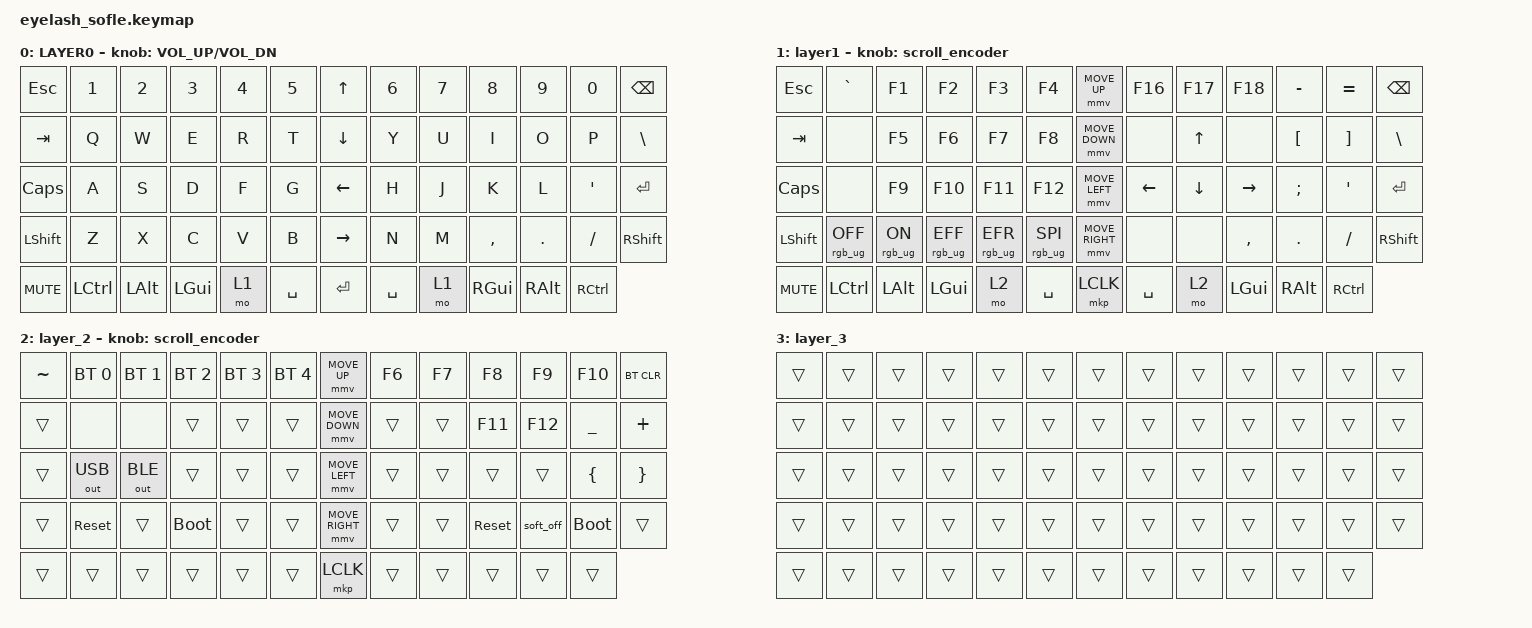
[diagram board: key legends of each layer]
#define ZMK_POINTING_DEFAULT_MOVE_VAL 1200  // 600
#define ZMK_POINTING_DEFAULT_SCRL_VAL 25   // 10

#include <input/processors.dtsi>
#include <zephyr/dt-bindings/input/input-event-codes.h>
#include <behaviors.dtsi>
#include <dt-bindings/zmk/bt.h>
#include <dt-bindings/zmk/keys.h>
#include <dt-bindings/zmk/outputs.h>
#include <dt-bindings/zmk/pointing.h>
#include <dt-bindings/zmk/rgb.h>

&mmv_input_listener { input-processors = <&zip_xy_scaler 2 1>; };

&msc_input_listener { input-processors = <&zip_scroll_scaler 2 1>; };

&msc {
    acceleration-exponent = <1>;      // 0
    time-to-max-speed-ms = <100>;       // 300
    delay-ms = <0>;                   // 0
};

&mmv {
    time-to-max-speed-ms = <500>;
    acceleration-exponent = <1>;
    trigger-period-ms = <16>;
};

/ {
    scroll_encoder: scroll_encoder {
        compatible = "zmk,behavior-sensor-rotate";
        #sensor-binding-cells = <0>;
        bindings = <&msc SCRL_DOWN>, <&msc SCRL_UP>;

        tap-ms = <100>;
    };

    td0: td0 {
        compatible = "zmk,behavior-tap-dance";
        label = "TD0";
        #binding-cells = <0>;
        bindings = <&kp CAPSLOCK>, <&kp LEFT_SHIFT>;
    };

    ht0: ht0 {
        compatible = "zmk,behavior-hold-tap";
        label = "HT0";
        bindings = <&kp>, <&kp>;

        #binding-cells = <2>;
        tapping-term-ms = <250>;
    };

    behaviors {
    };

    keymap {
        compatible = "zmk,keymap";

        layer0 {
            bindings = <
&kp ESC         &kp N1     &kp N2        &kp N3        &kp N4  &kp N5       &kp UP_ARROW     &kp N6     &kp N7  &kp N8         &kp N9         &kp N0            &kp BACKSPACE
&kp TAB         &kp Q      &kp W         &kp E         &kp R   &kp T        &kp DOWN_ARROW   &kp Y      &kp U   &kp I          &kp O          &kp P             &kp BACKSLASH
&kp CAPSLOCK    &kp A      &kp S         &kp D         &kp F   &kp G        &kp LEFT_ARROW   &kp H      &kp J   &kp K          &kp L          &kp SINGLE_QUOTE  &kp ENTER
&kp LEFT_SHIFT  &kp Z      &kp X         &kp C         &kp V   &kp B        &kp RIGHT_ARROW  &kp N      &kp M   &kp COMMA      &kp PERIOD     &kp SLASH         &kp RIGHT_SHIFT
&kp C_MUTE      &kp LCTRL  &kp LEFT_ALT  &kp LEFT_GUI  &mo 1   &kp SPACE    &kp ENTER        &kp SPACE  &mo 1   &kp RIGHT_GUI  &kp RIGHT_ALT  &kp RCTRL
            >;

            sensor-bindings = <&inc_dec_kp C_VOLUME_UP C_VOL_DN>;
            display-name = "LAYER0";
        };

        layer_1 {
            bindings = <
&kp ESC         &kp GRAVE        &kp F1          &kp F2           &kp F3           &kp F4             &mmv MOVE_UP     &kp F16         &kp F17         &kp F18          &kp MINUS         &kp EQUAL          &kp BACKSPACE
&kp TAB         &none            &kp F5          &kp F6           &kp F7           &kp F8             &mmv MOVE_DOWN   &none           &kp UP_ARROW    &none            &kp LEFT_BRACKET  &kp RIGHT_BRACKET  &kp BACKSLASH
&kp CAPSLOCK    &none            &kp F9          &kp F10          &kp F11          &kp F12            &mmv MOVE_LEFT   &kp LEFT_ARROW  &kp DOWN_ARROW  &kp RIGHT_ARROW  &kp SEMICOLON     &kp SINGLE_QUOTE   &kp ENTER
&kp LEFT_SHIFT  &rgb_ug RGB_OFF  &rgb_ug RGB_ON  &rgb_ug RGB_EFF  &rgb_ug RGB_EFR  &rgb_ug RGB_SPI    &mmv MOVE_RIGHT  &none           &none           &kp COMMA        &kp PERIOD        &kp SLASH          &kp RIGHT_SHIFT
&kp C_MUTE      &kp LCTRL        &kp LEFT_ALT    &kp LEFT_GUI     &mo 2            &kp SPACE          &mkp LCLK        &kp SPACE       &mo 2           &kp LEFT_GUI     &kp RIGHT_ALT     &kp RCTRL
            >;

            display-name = "layer1";
            sensor-bindings = <&scroll_encoder>;
        };

        layer_2 {
            bindings = <
&kp TILDE  &bt BT_SEL 0  &bt BT_SEL 1  &bt BT_SEL 2  &bt BT_SEL 3  &bt BT_SEL 4    &mmv MOVE_UP     &kp F6  &kp F7  &kp F8      &kp F9     &kp F10      &bt BT_CLR
&trans     &none         &none         &trans        &trans        &trans          &mmv MOVE_DOWN   &trans  &trans  &kp F11     &kp F12    &kp UNDER    &kp PLUS
&trans     &out OUT_USB  &out OUT_BLE  &trans        &trans        &trans          &mmv MOVE_LEFT   &trans  &trans  &trans      &trans     &kp LBRC     &kp RBRC
&trans     &sys_reset    &trans        &bootloader   &trans        &trans          &mmv MOVE_RIGHT  &trans  &trans  &sys_reset  &soft_off  &bootloader  &trans
&trans     &trans        &trans        &trans        &trans        &trans          &mkp LCLK        &trans  &trans  &trans      &trans     &trans
            >;

            sensor-bindings = <&scroll_encoder>;
        };

        layer_3 {
            bindings = <
&trans  &trans  &trans  &trans  &trans  &trans    &trans  &trans  &trans  &trans  &trans  &trans  &trans
&trans  &trans  &trans  &trans  &trans  &trans    &trans  &trans  &trans  &trans  &trans  &trans  &trans
&trans  &trans  &trans  &trans  &trans  &trans    &trans  &trans  &trans  &trans  &trans  &trans  &trans
&trans  &trans  &trans  &trans  &trans  &trans    &trans  &trans  &trans  &trans  &trans  &trans  &trans
&trans  &trans  &trans  &trans  &trans  &trans    &trans  &trans  &trans  &trans  &trans  &trans
            >;
        };
    };
};
